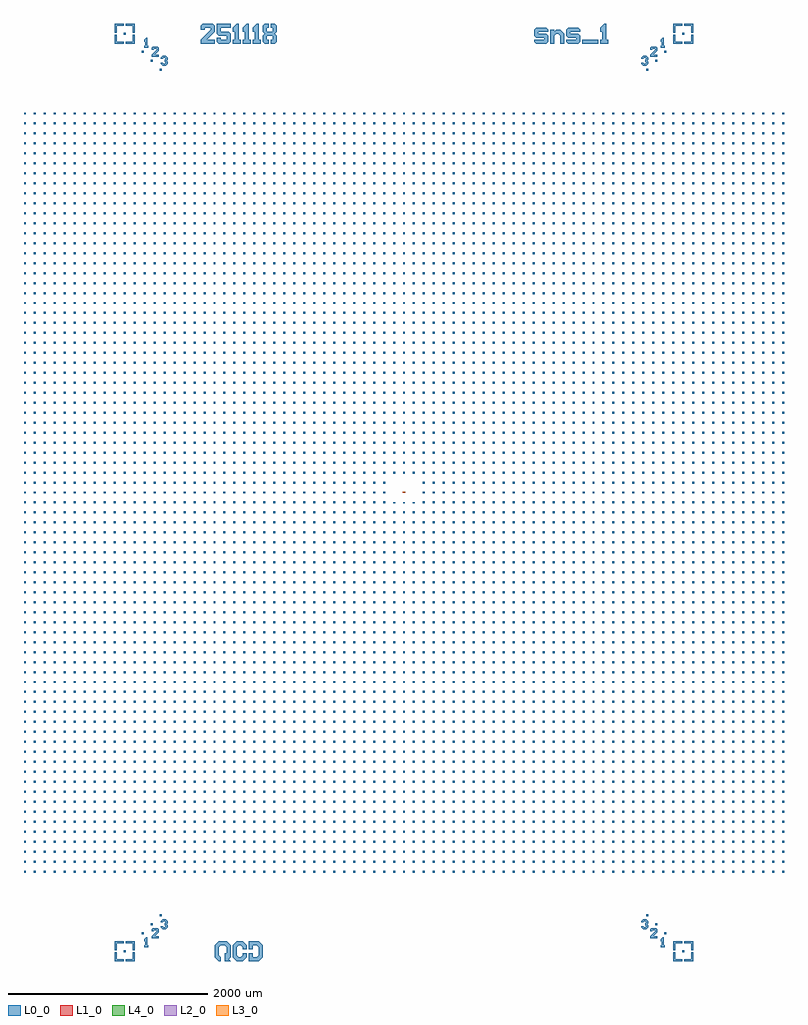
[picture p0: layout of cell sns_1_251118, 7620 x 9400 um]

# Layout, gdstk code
import gdstk
lib = gdstk.Library(unit=1e-6, precision=1e-09)
def R(c, l, rs):  # rectangles x0, y0, x1, y1
    for r in rs: c.add(gdstk.rectangle(r[:2], r[2:], *l))
def A(c, l, x, y, w, h, nx, ny, dx, dy):  # array of equal rectangles
    R(c, l, [(x+i*dx, y+j*dy, x+i*dx+w, y+j*dy+h) for i in range(nx) for j in range(ny)])
def P(c, l, *ps):  # polygons
    for p in ps: c.add(gdstk.Polygon(p, *l))
L0_0 = (0, 0)
L1_0 = (1, 0)
L2_0 = (2, 0)
L3_0 = (3, 0)
L4_0 = (4, 0)

remarks = lib.new_cell('remarks')
R(remarks, L0_0, [(-2810,-4610,-2790,-4590), (2790,-4610,2810,-4590), (-2630,-4430,-2610,-4410), (2610,-4430,2630,-4410), (-2540,-4340,-2520,-4320), (2520,-4340,2540,-4320), (-2450,-4250,-2430,-4230), (2430,-4250,2450,-4230), (-2450,4230,-2430,4250), (2430,4230,2450,4250), (-2540,4320,-2520,4340), (2520,4320,2540,4340), (-2630,4410,-2610,4430), (2610,4410,2630,4430), (1786.667,4500,1946.667,4540), (-2810,4590,-2790,4610), (2790,4590,2810,4610)])
P(remarks, L0_0, [(1326.667,4500),(1306.667,4520),(1306.667,4540),(1406.667,4540),(1406.667,4560),(1326.667,4560),(1306.667,4580),(1306.667,4640),(1326.667,4660),(1426.667,4660),(1446.667,4640),(1446.667,4620),(1346.667,4620),(1346.667,4600),(1426.667,4600),(1446.667,4580),(1446.667,4520),(1426.667,4500)],
  [(1466.667,4500),(1466.667,4640),(1506.667,4640),(1506.667,4620),(1526.667,4640),(1566.667,4640),(1606.667,4600),(1606.667,4500),(1566.667,4500),(1566.667,4580),(1546.667,4600),(1526.667,4600),(1506.667,4580),(1506.667,4500)],
  [(1646.667,4500),(1626.667,4520),(1626.667,4540),(1726.667,4540),(1726.667,4560),(1646.667,4560),(1626.667,4580),(1626.667,4640),(1646.667,4660),(1746.667,4660),(1766.667,4640),(1766.667,4620),(1666.667,4620),(1666.667,4600),(1746.667,4600),(1766.667,4580),(1766.667,4520),(1746.667,4500)],
  [(1966.667,4500),(1966.667,4540),(1986.667,4540),(1986.667,4620),(1966.667,4620),(1966.667,4660),(2006.667,4700),(2026.667,4700),(2026.667,4540),(2046.667,4540),(2046.667,4500)],
  [(-2036.667,4500),(-2036.667,4540),(-1936.667,4640),(-1936.667,4660),(-1996.667,4660),(-1996.667,4640),(-2036.667,4640),(-2036.667,4680),(-2016.667,4700),(-1916.667,4700),(-1896.667,4680),(-1896.667,4620),(-1976.667,4540),(-1896.667,4540),(-1896.667,4500)],
  [(-1856.667,4500),(-1876.667,4520),(-1876.667,4560),(-1836.667,4560),(-1836.667,4540),(-1776.667,4540),(-1776.667,4580),(-1856.667,4580),(-1876.667,4600),(-1876.667,4700),(-1736.667,4700),(-1736.667,4660),(-1836.667,4660),(-1836.667,4620),(-1756.667,4620),(-1736.667,4600),(-1736.667,4520),(-1756.667,4500)],
  [(-1716.667,4500),(-1716.667,4540),(-1696.667,4540),(-1696.667,4620),(-1716.667,4620),(-1716.667,4660),(-1676.667,4700),(-1656.667,4700),(-1656.667,4540),(-1636.667,4540),(-1636.667,4500)],
  [(-1616.667,4500),(-1616.667,4540),(-1596.667,4540),(-1596.667,4620),(-1616.667,4620),(-1616.667,4660),(-1576.667,4700),(-1556.667,4700),(-1556.667,4540),(-1536.667,4540),(-1536.667,4500)],
  [(-1516.667,4500),(-1516.667,4540),(-1496.667,4540),(-1496.667,4620),(-1516.667,4620),(-1516.667,4660),(-1476.667,4700),(-1456.667,4700),(-1456.667,4540),(-1436.667,4540),(-1436.667,4500)],
  [(-1396.667,4500),(-1416.667,4520),(-1416.667,4580),(-1396.667,4600),(-1416.667,4620),(-1416.667,4680),(-1396.667,4700),(-1356.667,4700),(-1356.667,4660),(-1376.667,4660),(-1376.667,4620),(-1316.667,4620),(-1316.667,4660),(-1336.667,4660),(-1336.667,4700),(-1296.667,4700),(-1276.667,4680),(-1276.667,4620),(-1296.667,4600),(-1276.667,4580),(-1276.667,4520),(-1296.667,4500),(-1336.667,4500),(-1336.667,4540),(-1316.667,4540),(-1316.667,4580),(-1376.667,4580),(-1376.667,4540),(-1356.667,4540),(-1356.667,4500)],
  [(-1856.667,-4700),(-1896.667,-4660),(-1896.667,-4540),(-1856.667,-4500),(-1776.667,-4500),(-1736.667,-4540),(-1736.667,-4660),(-1756.667,-4680),(-1736.667,-4700),(-1796.667,-4700),(-1796.667,-4620),(-1776.667,-4620),(-1776.667,-4560),(-1796.667,-4540),(-1836.667,-4540),(-1856.667,-4560),(-1856.667,-4640),(-1836.667,-4660),(-1836.667,-4700)],
  [(-1676.667,-4700),(-1716.667,-4660),(-1716.667,-4540),(-1676.667,-4500),(-1616.667,-4500),(-1576.667,-4540),(-1576.667,-4580),(-1616.667,-4580),(-1616.667,-4560),(-1636.667,-4540),(-1656.667,-4540),(-1676.667,-4560),(-1676.667,-4640),(-1656.667,-4660),(-1636.667,-4660),(-1616.667,-4640),(-1616.667,-4620),(-1576.667,-4620),(-1576.667,-4660),(-1616.667,-4700)],
  [(-1556.667,-4700),(-1556.667,-4620),(-1516.667,-4620),(-1516.667,-4660),(-1476.667,-4660),(-1456.667,-4640),(-1456.667,-4560),(-1476.667,-4540),(-1516.667,-4540),(-1516.667,-4580),(-1556.667,-4580),(-1556.667,-4500),(-1456.667,-4500),(-1416.667,-4540),(-1416.667,-4660),(-1456.667,-4700)],
  [(-2900,-4590),(-2900,-4500),(-2810,-4500),(-2810,-4520),(-2880,-4520),(-2880,-4590)],
  [(-2900,4500),(-2900,4590),(-2880,4590),(-2880,4520),(-2810,4520),(-2810,4500)],
  [(2810,4500),(2810,4520),(2880,4520),(2880,4590),(2900,4590),(2900,4500)],
  [(2880,-4590),(2880,-4520),(2810,-4520),(2810,-4500),(2900,-4500),(2900,-4590)],
  [(-2900,-4700),(-2900,-4610),(-2880,-4610),(-2880,-4680),(-2810,-4680),(-2810,-4700)],
  [(-2900,4610),(-2900,4700),(-2810,4700),(-2810,4680),(-2880,4680),(-2880,4610)],
  [(2880,4610),(2880,4680),(2810,4680),(2810,4700),(2900,4700),(2900,4610)],
  [(2810,-4700),(2810,-4680),(2880,-4680),(2880,-4610),(2900,-4610),(2900,-4700)],
  [(-2790,-4700),(-2790,-4680),(-2720,-4680),(-2720,-4610),(-2700,-4610),(-2700,-4700)],
  [(-2720,4610),(-2720,4680),(-2790,4680),(-2790,4700),(-2700,4700),(-2700,4610)],
  [(2700,4610),(2700,4700),(2790,4700),(2790,4680),(2720,4680),(2720,4610)],
  [(2700,-4700),(2700,-4610),(2720,-4610),(2720,-4680),(2790,-4680),(2790,-4700)],
  [(-2720,-4590),(-2720,-4520),(-2790,-4520),(-2790,-4500),(-2700,-4500),(-2700,-4590)],
  [(-2790,4500),(-2790,4520),(-2720,4520),(-2720,4590),(-2700,4590),(-2700,4500)],
  [(2700,4500),(2700,4590),(2720,4590),(2720,4520),(2790,4520),(2790,4500)],
  [(2700,-4590),(2700,-4500),(2790,-4500),(2790,-4520),(2720,-4520),(2720,-4590)],
  [(-2605,-4560),(-2605,-4540),(-2595,-4540),(-2595,-4500),(-2605,-4500),(-2605,-4480),(-2585,-4460),(-2575,-4460),(-2575,-4540),(-2565,-4540),(-2565,-4560)],
  [(-2605,4460),(-2605,4480),(-2595,4480),(-2595,4520),(-2605,4520),(-2605,4540),(-2585,4560),(-2575,4560),(-2575,4480),(-2565,4480),(-2565,4460)],
  [(2575,4460),(2575,4480),(2585,4480),(2585,4520),(2575,4520),(2575,4540),(2595,4560),(2605,4560),(2605,4480),(2615,4480),(2615,4460)],
  [(2575,-4560),(2575,-4540),(2585,-4540),(2585,-4500),(2575,-4500),(2575,-4480),(2595,-4460),(2605,-4460),(2605,-4540),(2615,-4540),(2615,-4560)],
  [(-2530,-4470),(-2530,-4450),(-2480,-4400),(-2480,-4390),(-2510,-4390),(-2510,-4400),(-2530,-4400),(-2530,-4380),(-2520,-4370),(-2470,-4370),(-2460,-4380),(-2460,-4410),(-2500,-4450),(-2460,-4450),(-2460,-4470)],
  [(-2530,4370),(-2530,4390),(-2480,4440),(-2480,4450),(-2510,4450),(-2510,4440),(-2530,4440),(-2530,4460),(-2520,4470),(-2470,4470),(-2460,4460),(-2460,4430),(-2500,4390),(-2460,4390),(-2460,4370)],
  [(2470,4370),(2470,4390),(2520,4440),(2520,4450),(2490,4450),(2490,4440),(2470,4440),(2470,4460),(2480,4470),(2530,4470),(2540,4460),(2540,4430),(2500,4390),(2540,4390),(2540,4370)],
  [(2470,-4470),(2470,-4450),(2520,-4400),(2520,-4390),(2490,-4390),(2490,-4400),(2470,-4400),(2470,-4380),(2480,-4370),(2530,-4370),(2540,-4380),(2540,-4410),(2500,-4450),(2540,-4450),(2540,-4470)],
  [(-2420,-4380),(-2440,-4360),(-2440,-4350),(-2420,-4350),(-2410,-4360),(-2400,-4360),(-2390,-4350),(-2400,-4340),(-2400,-4320),(-2390,-4310),(-2400,-4300),(-2410,-4300),(-2420,-4310),(-2440,-4310),(-2440,-4300),(-2420,-4280),(-2390,-4280),(-2370,-4300),(-2370,-4320),(-2380,-4330),(-2370,-4340),(-2370,-4360),(-2390,-4380)],
  [(-2420,4280),(-2440,4300),(-2440,4310),(-2420,4310),(-2410,4300),(-2400,4300),(-2390,4310),(-2400,4320),(-2400,4340),(-2390,4350),(-2400,4360),(-2410,4360),(-2420,4350),(-2440,4350),(-2440,4360),(-2420,4380),(-2390,4380),(-2370,4360),(-2370,4340),(-2380,4330),(-2370,4320),(-2370,4300),(-2390,4280)],
  [(2400,4280),(2380,4300),(2380,4310),(2400,4310),(2410,4300),(2420,4300),(2430,4310),(2420,4320),(2420,4340),(2430,4350),(2420,4360),(2410,4360),(2400,4350),(2380,4350),(2380,4360),(2400,4380),(2430,4380),(2450,4360),(2450,4340),(2440,4330),(2450,4320),(2450,4300),(2430,4280)],
  [(2400,-4380),(2380,-4360),(2380,-4350),(2400,-4350),(2410,-4360),(2420,-4360),(2430,-4350),(2420,-4340),(2420,-4320),(2430,-4310),(2420,-4300),(2410,-4300),(2400,-4310),(2380,-4310),(2380,-4300),(2400,-4280),(2430,-4280),(2450,-4300),(2450,-4320),(2440,-4330),(2450,-4340),(2450,-4360),(2430,-4380)])

nb_inv = lib.new_cell('Nb_inv')
P(nb_inv, L1_0, [(-11,0),(-11,1.35),(-3.35,1.35),(-3.35,4.35),(-11,4.35),(-11,10),(3.35,10),(3.35,6.25),(6.35,6.25),(6.35,10),(11,10),(11,0),(6.35,0),(6.35,3.75),(3.35,3.75),(3.35,0)])

jj1 = lib.new_cell('JJ1')
R(jj1, L2_0, [(-0.05,3.25,0.05,6.75), (-1.05,4.25,4.35,4.55), (-4.35,4.85,1.05,5.15), (-1.05,5.45,5.85,5.75)])

ghost1 = lib.new_cell('Ghost1')
R(ghost1, L3_0, [(-0.15,2.45,0.15,3.45), (-1.85,4.15,-0.85,4.65), (4.15,4.15,5.15,4.65), (-5.15,4.75,-4.15,5.25), (0.85,4.75,1.85,5.25), (-1.85,5.35,-0.85,5.85), (5.65,5.35,6.65,5.85), (-0.15,6.55,0.15,7.55)])

patch = lib.new_cell('Patch')
R(patch, L4_0, [(3.35,2.25,4.85,5.05), (-4.85,2.85,-3.35,5.65), (4.85,4.95,6.35,7.75)])

unnamed_50 = lib.new_cell('Unnamed_50')
A(unnamed_50, L0_0, -3810, -3810, 20, 20, 77, 37, 100, 100)
A(unnamed_50, L0_0, -3810, -110, 20, 20, 37, 3, 100, 100)
A(unnamed_50, L0_0, -110, -110, 20, 10, 3, 1, 100, 0)
A(unnamed_50, L0_0, 190, -110, 20, 20, 37, 3, 100, 100)
A(unnamed_50, L0_0, -3810, 190, 20, 20, 77, 37, 100, 100)

sns_1_251118 = lib.new_cell('sns_1_251118')
sns_1_251118.add(gdstk.Reference(remarks, (0,0)))
sns_1_251118.add(gdstk.Reference(nb_inv, (0,0)))
sns_1_251118.add(gdstk.Reference(jj1, (0,0)))
sns_1_251118.add(gdstk.Reference(ghost1, (0,0)))
sns_1_251118.add(gdstk.Reference(patch, (0,0)))
sns_1_251118.add(gdstk.Reference(unnamed_50, (0,0)))

lib.write_gds('sns_1_251118.gds')
